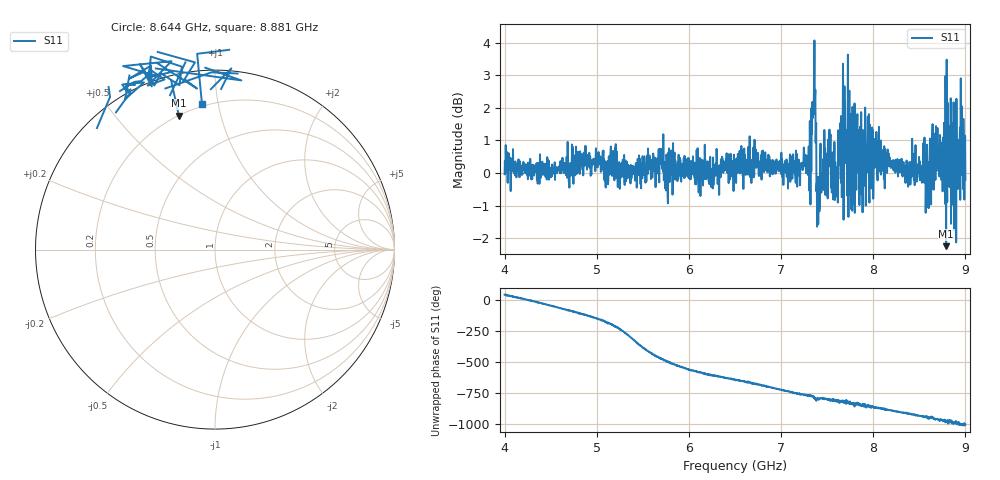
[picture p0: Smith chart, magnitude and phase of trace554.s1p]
! Created with skrf 1.8.0 (http://scikit-rf.org).
# Hz S RI R 50.0
!freq ReS11 ImS11
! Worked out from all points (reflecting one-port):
!   1601 points, 4 GHz to 9 GHz, reference 50 ohm
!   lowest |S11| = -2.2 dB at 8.791 GHz (marker M1), VSWR 7.78, Z = 10.1 + j37.3 ohm
!   phase of S11 starts at 43 deg and turns -1048 deg over the sweep
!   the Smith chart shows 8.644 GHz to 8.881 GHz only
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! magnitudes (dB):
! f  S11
! 4 GHz  0.0
! 4.625 GHz  0.1
! 5.25 GHz  -0.5
! 5.697 GHz  0.6
! 5.753 GHz  -0.5
! 5.875 GHz  -0.2
! 6.5 GHz  0.1
! 7.125 GHz  0.3
! 7.294 GHz  0.5
! 7.356 GHz  2.4
! 7.409 GHz  -1.0
! 7.45 GHz  -0.2
! 7.512 GHz  1.0
! 7.591 GHz  -0.1
! 7.675 GHz  1.8
! 7.75 GHz  0.3
! 7.784 GHz  -0.2
! 7.822 GHz  0.6
! 7.872 GHz  0.5
! 7.928 GHz  0.9
! 8.375 GHz  -0.3
! 8.541 GHz  0.9
! 8.594 GHz  0.3
! 8.656 GHz  1.2
! 8.791 GHz  -2.2
! 8.875 GHz  1.0
! 8.959 GHz  2.1
! 9 GHz  -0.2
